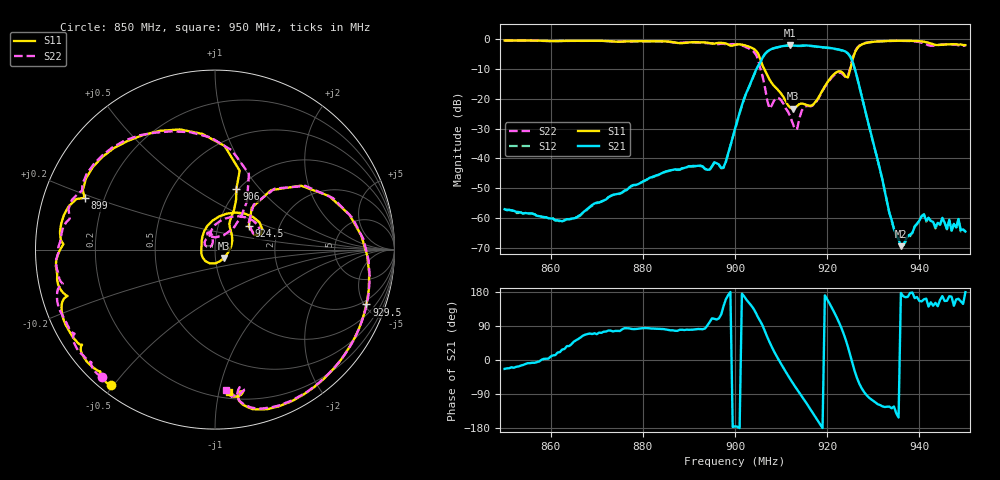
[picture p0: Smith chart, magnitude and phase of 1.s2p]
!CEYEAR,3656B,QZNG000064,1.3.8
!Calibration ON (Full Solt 2-Port(Omit Isolation))
!Measurements: S11 S21 S12 S22
!2025-12-13 10:19
# Hz  S  dB  R 50.000
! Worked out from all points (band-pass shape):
!   201 points, 850 MHz to 950 MHz, reference 50 ohm
!   highest |S21| = -2.06 dB at 912 MHz (marker M1); lowest = -69.5 dB at 936 MHz (marker M2)
!   |S21| within 3 dB of the highest: 906.4 MHz to 924.7 MHz (18.24 MHz wide, 1.99 % of centre)
!   lowest |S11| = -23.3 dB at 912.5 MHz (marker M3), VSWR 1.15, Z = 54.9 - j5.2 ohm
!   |S11| at or under -10 dB: 906.4 MHz to 925 MHz (18.66 MHz wide, 2.04 % of centre)
!   |S22| runs from -30.3 to -0.4 dB; largest |S21 - S12| = 0.014
!   S11 on the Smith chart (normalised r, x): 850 MHz: 0.03, -0.49; 899 MHz: 0.13, +0.19; 906 MHz: 0.98, +0.76; 924.5 MHz: 1.40, +0.38; 929.5 MHz: 1.65, -5.19; 950 MHz: 0.24, -1.07
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8.5e8  -0.41 -127.5  -57.12 -23.4  -57.24 -22.7  -0.44 -131.7
8.67e8  -0.47 -137.5  -58.22 64.3  -58.31 64.9  -0.49 -142.2
8.835e8  -0.63 -155.1  -45.47 82.2  -45.55 83.2  -0.66 -160.5
8.975e8  -1.27 167.1  -43.10 141.6  -43.22 142.5  -1.47 160.9
8.99e8  -2.15 158.3  -35.80 179.5  -35.96 -179.5  -1.68 153.6
9e8  -1.85 155.7  -30.07 -175.0  -30.27 -174.2  -1.65 145.1
9.035e8  -2.73 114.9  -14.30 144.2  -14.45 145.3  -3.49 102.1
9.06e8  -8.89 70.6  -6.11 90.6  -6.19 91.7  -12.54 51.8
9.075e8  -13.55 63.6  -3.59 47.2  -3.65 48.1  -23.31 87.3
9.09e8  -16.51 56.6  -2.74 10.8  -2.79 11.6  -19.76 114.6
9.12e8  -22.99 -23.4  -2.06 -50.7  -2.13 -50.0  -26.01 103.6
9.125e8  -23.35 -43.9  -2.09 -60.2  -2.16 -59.6  -28.11 109.1
9.17e8  -21.86 158.9  -2.30 -142.0  -2.38 -141.2  -22.07 113.7
9.195e8  -15.82 95.0  -2.74 170.6  -2.82 171.5  -15.98 81.0
9.22e8  -11.09 41.0  -3.26 114.3  -3.34 115.3  -11.50 37.4
9.245e8  -12.83 34.6  -4.70 34.9  -4.78 35.9  -12.46 38.2
9.26e8  -4.48 36.6  -9.88 -30.4  -9.98 -29.4  -4.21 35.2
9.295e8  -0.94 -19.9  -31.64 -103.4  -31.74 -102.1  -0.89 -21.5
9.335e8  -0.55 -47.6  -58.36 -123.1  -58.40 -122.1  -0.55 -49.7
9.36e8  -0.48 -58.7  -69.54 177.1  -68.71 -178.7  -0.52 -61.2
9.41e8  -0.79 -76.8  -58.89 160.1  -58.77 160.9  -1.37 -80.8
9.5e8  -1.95 -84.3  -64.60 179.0  -64.62 178.7  -2.13 -85.3
